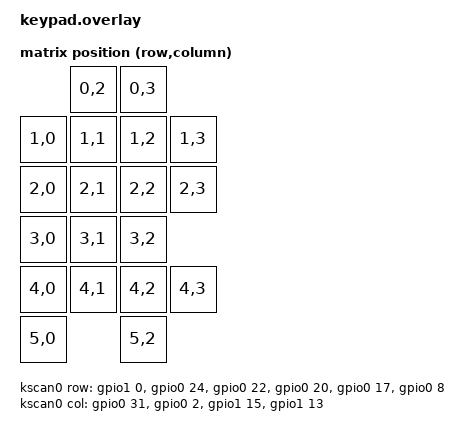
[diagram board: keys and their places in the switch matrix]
#include <dt-bindings/zmk/matrix_transform.h>
#include <dt-bindings/pinctrl/nrf-pinctrl.h>
#include <dt-bindings/pwm/pwm.h>

/ {
    chosen {
        zmk,kscan = &kscan0;
        zmk,matrix-transform = &default_transform;
        zmk,backlight = &pwm_led_0;
    };

    default_transform: keymap_transform_0 {
        compatible = "zmk,matrix-transform";
        columns = <4>;
        rows = <6>;
        map = <
            RC(0,2) RC(0,3)
    RC(1,0) RC(1,1) RC(1,2) RC(1,3)
    RC(2,0) RC(2,1) RC(2,2) RC(2,3)
    RC(3,0) RC(3,1) RC(3,2)
    RC(4,0) RC(4,1) RC(4,2) RC(4,3)
    RC(5,0)         RC(5,2)
        >;
    };

    kscan0: kscan_0 {
        compatible = "zmk,kscan-gpio-matrix";
        diode-direction = "col2row";
        wakeup-source;

        col-gpios
            = <&gpio0 31 GPIO_ACTIVE_HIGH>
            , <&gpio0 2 GPIO_ACTIVE_HIGH>
            , <&gpio1 15 GPIO_ACTIVE_HIGH>
            , <&gpio1 13 GPIO_ACTIVE_HIGH>
            ;

        row-gpios
            = <&gpio1 0 (GPIO_ACTIVE_HIGH | GPIO_PULL_DOWN)>
            , <&gpio0 24 (GPIO_ACTIVE_HIGH | GPIO_PULL_DOWN)>
            , <&gpio0 22 (GPIO_ACTIVE_HIGH | GPIO_PULL_DOWN)>
            , <&gpio0 20 (GPIO_ACTIVE_HIGH | GPIO_PULL_DOWN)>
            , <&gpio0 17 (GPIO_ACTIVE_HIGH | GPIO_PULL_DOWN)>
            , <&gpio0 8 (GPIO_ACTIVE_HIGH | GPIO_PULL_DOWN)>
            ;
    };

    backlight: pwmleds {
        compatible = "pwm-leds";
        pwm_led_0: pwm_led_0 {
            pwms = <&pwm0 0 10000000 PWM_POLARITY_NORMAL>;
        };
    };

    leds {
        compatible = "gpio-leds";
        indicator_led: led_0 {
            gpios = <&gpio0 29 GPIO_ACTIVE_LOW>;
            label = "Indicator LED";
        };
    };

    aliases {
        indicator-led = &indicator_led;
    };
};

&pinctrl {
    pwm0_default: pwm0_default {
        group1 {
            psels = <NRF_PSEL(PWM_OUT0, 0, 6)>;
        };
    };
    pwm0_sleep: pwm0_sleep {
        group1 {
            psels = <NRF_PSEL(PWM_OUT0, 0, 6)>;
            low-power-enable;
        };
    };
};

&pwm0 {
    status = "okay";
    pinctrl-0 = <&pwm0_default>;
    pinctrl-1 = <&pwm0_sleep>;
    pinctrl-names = "default", "sleep";
};
